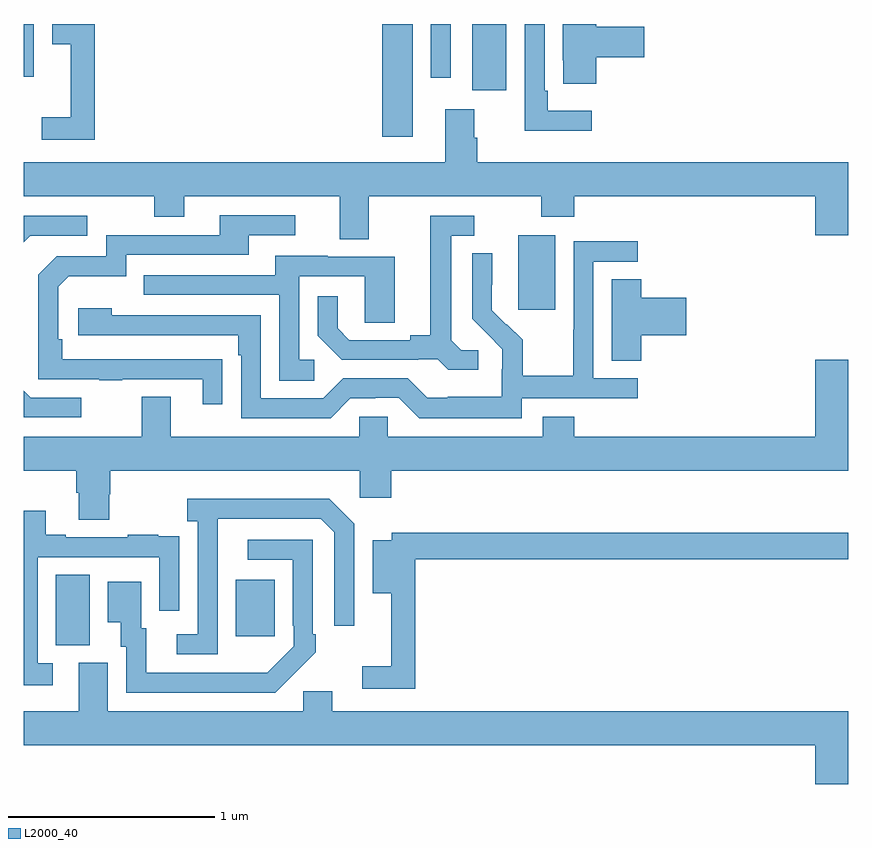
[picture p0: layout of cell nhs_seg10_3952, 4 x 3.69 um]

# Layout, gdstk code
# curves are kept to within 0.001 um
import gdstk
lib = gdstk.Library(unit=1e-6, precision=1e-09)
def R(c, l, rs):  # rectangles x0, y0, x1, y1
    for r in rs: c.add(gdstk.rectangle(r[:2], r[2:], *l))
def P(c, l, *ps):  # polygons
    for p in ps: c.add(gdstk.Polygon(p, *l))
L2000_40 = (2000, 40)

nhs_seg10_3952 = lib.new_cell('nhs_seg10_3952')
R(nhs_seg10_3952, L2000_40, [(329.156,1283.485,329.32,1283.828), (330.029,1283.529,330.217,1283.803), (331.4,1285.113,331.579,1285.474), (330.74,1285.953,330.886,1286.5), (331.175,1286.178,331.342,1286.5), (330.975,1286.238,331.071,1286.5), (329,1286.244,329.049,1286.5)])
P(nhs_seg10_3952, L2000_40, [(331.756,1286.08),(331.543,1286.08),(331.543,1286.176),(331.527,1286.176),(331.527,1286.5),(331.431,1286.5),(331.431,1285.982),(331.756,1285.982)],
  [(329.345,1286.5),(329.138,1286.5),(329.138,1286.402),(329.228,1286.402),(329.228,1286.047),(329.088,1286.047),(329.088,1285.938),(329.345,1285.938)],
  [(331.778,1286.339),(332.011,1286.339),(332.011,1286.486),(331.778,1286.486),(331.778,1286.5),(331.616,1286.5),(331.616,1286.323),(331.617,1286.323),(331.617,1286.211),(331.778,1286.211)],
  [(330.673,1285.664),(331.51,1285.664),(331.51,1285.565),(331.67,1285.565),(331.67,1285.664),(332.84,1285.664),(332.84,1285.476),(333,1285.476),(333,1285.828),(331.199,1285.828),(331.199,1285.949),(331.186,1285.949),(331.186,1286.086),(331.046,1286.086),(331.046,1285.828),(329,1285.828),(329,1285.664),(329.632,1285.664),(329.632,1285.565),(329.779,1285.565),(329.779,1285.664),(330.533,1285.664),(330.533,1285.456),(330.673,1285.456)],
  [(329.963,1284.872),(329.186,1284.873),(329.186,1284.97),(329.166,1284.97),(329.166,1285.224),(329.219,1285.277),(329.496,1285.277),(329.496,1285.38),(330.091,1285.38),(330.091,1285.476),(330.316,1285.476),(330.316,1285.572),(329.951,1285.572),(329.951,1285.476),(329.4,1285.476),(329.4,1285.374),(329.16,1285.374),(329.07,1285.284),(329.07,1284.777),(329.365,1284.777),(329.365,1284.772),(329.477,1284.772),(329.477,1284.777),(329.867,1284.777),(329.867,1284.654),(329.963,1284.654)],
  [(331.204,1284.918),(331.122,1284.918),(331.075,1284.965),(331.075,1285.473),(331.186,1285.473),(331.186,1285.569),(330.971,1285.569),(330.971,1284.989),(330.875,1284.989),(330.875,1284.966),(330.58,1284.966),(330.523,1285.023),(330.523,1285.18),(330.426,1285.18),(330.426,1284.986),(330.542,1284.87),(330.914,1284.87),(330.914,1284.873),(331.008,1284.873),(331.06,1284.821),(331.204,1284.821)],
  [(329.031,1285.473),(329.308,1285.473),(329.308,1285.569),(329,1285.569),(329,1285.442)],
  [(331.416,1284.684),(331.978,1284.684),(331.978,1284.78),(331.764,1284.78),(331.764,1285.347),(331.978,1285.347),(331.978,1285.446),(331.668,1285.446),(331.668,1285.016),(331.666,1285.016),(331.666,1284.793),(331.421,1284.793),(331.421,1284.967),(331.344,1285.044),(331.341,1285.041),(331.271,1285.112),(331.272,1285.388),(331.176,1285.388),(331.176,1285.07),(331.322,1284.922),(331.322,1284.825),(331.32,1284.825),(331.32,1284.691),(331.057,1284.691),(331.057,1284.687),(330.957,1284.687),(330.864,1284.78),(330.549,1284.78),(330.453,1284.684),(330.15,1284.684),(330.15,1285.086),(329.426,1285.086),(329.426,1285.12),(329.265,1285.12),(329.265,1284.99),(330.041,1284.99),(330.041,1284.893),(330.054,1284.893),(330.054,1284.588),(330.489,1284.588),(330.585,1284.684),(330.704,1284.684),(330.704,1284.687),(330.819,1284.687),(330.919,1284.587),(331.416,1284.587)],
  [(330.409,1284.87),(330.336,1284.87),(330.336,1285.275),(330.654,1285.275),(330.654,1285.051),(330.799,1285.051),(330.799,1285.371),(330.475,1285.371),(330.475,1285.375),(330.221,1285.375),(330.221,1285.281),(329.581,1285.281),(329.581,1285.185),(330.24,1285.185),(330.24,1284.769),(330.409,1284.769)],
  [(331.997,1284.989),(332.215,1284.989),(332.215,1285.172),(331.997,1285.172),(331.997,1285.262),(331.853,1285.262),(331.853,1284.865),(331.997,1284.865)],
  [(329.415,1284.219),(329.42,1284.219),(329.42,1284.332),(330.63,1284.332),(330.63,1284.201),(330.782,1284.201),(330.782,1284.332),(333,1284.332),(333,1284.871),(332.84,1284.871),(332.84,1284.496),(331.67,1284.496),(331.67,1284.595),(331.517,1284.595),(331.517,1284.496),(330.765,1284.496),(330.765,1284.594),(330.627,1284.594),(330.627,1284.496),(329.713,1284.496),(329.713,1284.691),(329.573,1284.691),(329.573,1284.496),(329,1284.496),(329,1284.332),(329.255,1284.332),(329.255,1284.226),(329.267,1284.226),(329.267,1284.094),(329.415,1284.094)],
  [(329.278,1284.687),(329.034,1284.687),(329,1284.721),(329,1284.591),(329.278,1284.591)],
  [(329.94,1283.899),(329.941,1284.099),(330.441,1284.099),(330.507,1284.033),(330.507,1283.58),(330.603,1283.58),(330.603,1284.075),(330.482,1284.196),(329.793,1284.196),(329.793,1284.086),(329.844,1284.086),(329.844,1283.538),(329.742,1283.538),(329.742,1283.442),(329.94,1283.442)],
  [(329.14,1283.397),(329.067,1283.397),(329.067,1283.913),(329.658,1283.913),(329.658,1283.652),(329.754,1283.652),(329.754,1283.906),(329.753,1283.906),(329.753,1284.015),(329.651,1284.015),(329.651,1284.022),(329.503,1284.022),(329.503,1284.009),(329.203,1284.009),(329.203,1284.022),(329.107,1284.022),(329.107,1284.139),(329,1284.139),(329,1283.292),(329.14,1283.292)],
  [(330.899,1283.902),(333,1283.902),(333,1284.031),(330.786,1284.031),(330.786,1283.995),(330.692,1283.995),(330.692,1283.738),(330.782,1283.738),(330.782,1283.383),(330.642,1283.383),(330.642,1283.274),(330.899,1283.274)],
  [(330.311,1283.347),(330.312,1283.346),(330.417,1283.451),(330.417,1283.539),(330.402,1283.539),(330.402,1283.997),(330.087,1283.997),(330.087,1283.901),(330.306,1283.901),(330.306,1283.581),(330.309,1283.581),(330.309,1283.481),(330.181,1283.353),(329.593,1283.352),(329.593,1283.568),(329.569,1283.568),(329.569,1283.794),(329.408,1283.794),(329.408,1283.597),(329.471,1283.597),(329.471,1283.478),(329.496,1283.478),(329.496,1283.256),(330.22,1283.256)],
  [(333,1283.164),(330.496,1283.164),(330.496,1283.262),(330.357,1283.262),(330.357,1283.164),(329.407,1283.164),(329.407,1283.4),(329.267,1283.4),(329.267,1283.164),(329,1283.164),(329,1283),(332.84,1283),(332.84,1282.812),(333,1282.812)])

lib.write_gds('nhs_seg10_3952.gds')
